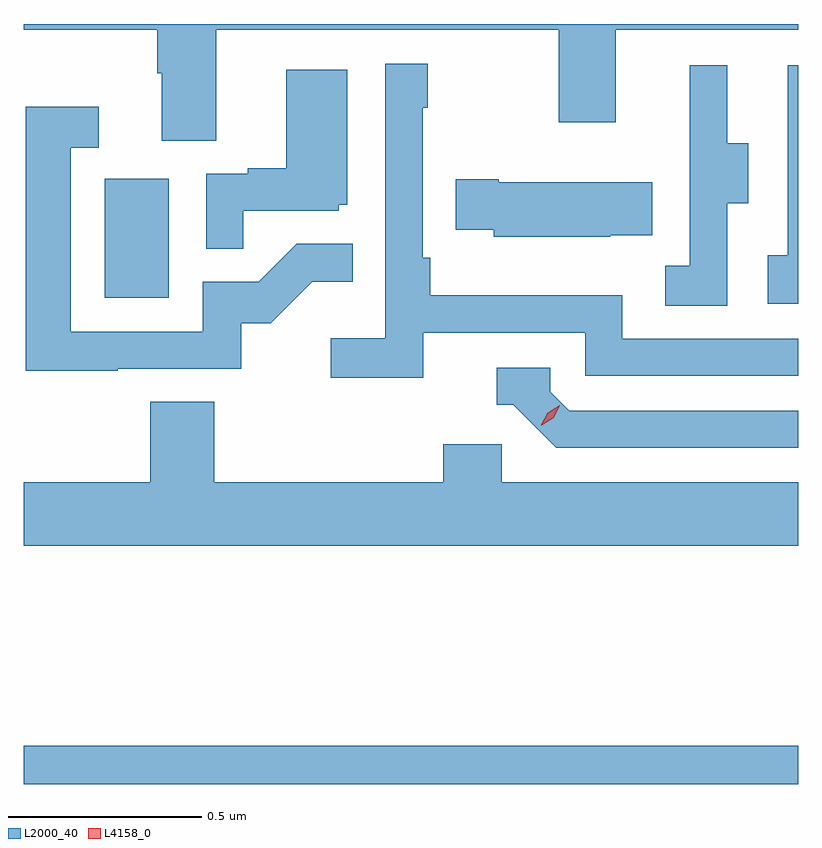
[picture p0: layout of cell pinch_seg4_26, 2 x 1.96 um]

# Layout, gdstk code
import gdstk
lib = gdstk.Library(unit=1e-6, precision=1e-09)
def R(c, l, rs):  # rectangles x0, y0, x1, y1
    for r in rs: c.add(gdstk.rectangle(r[:2], r[2:], *l))
def P(c, l, *ps):  # polygons
    for p in ps: c.add(gdstk.Polygon(p, *l))
L2000_40 = (2000, 40)
L4158_0 = (4158, 0)

pinch_seg4_26 = lib.new_cell('pinch_seg4_26')
R(pinch_seg4_26, L2000_40, [(1107.5,830.837,1109.5,830.936), (1107.71,832.092,1107.874,832.399)])
P(pinch_seg4_26, L2000_40, [(1107.997,832.784),(1108.882,832.784),(1108.882,832.545),(1109.029,832.545),(1109.029,832.784),(1109.5,832.784),(1109.5,832.799),(1107.5,832.799),(1107.5,832.784),(1107.845,832.784),(1107.845,832.672),(1107.857,832.672),(1107.857,832.498),(1107.997,832.498)],
  [(1108.532,832.002),(1108.95,832.002),(1108.95,831.891),(1109.5,831.891),(1109.5,831.987),(1109.046,831.987),(1109.046,832.099),(1108.55,832.099),(1108.55,832.195),(1108.53,832.195),(1108.53,832.583),(1108.543,832.583),(1108.543,832.696),(1108.434,832.696),(1108.434,831.988),(1108.293,831.988),(1108.293,831.886),(1108.532,831.886)],
  [(1109.316,832.336),(1109.371,832.336),(1109.371,832.491),(1109.317,832.491),(1109.317,832.693),(1109.219,832.693),(1109.219,832.479),(1109.22,832.479),(1109.22,832.175),(1109.157,832.175),(1109.157,832.072),(1109.316,832.072)],
  [(1109.5,832.693),(1109.472,832.693),(1109.472,832.202),(1109.421,832.202),(1109.421,832.077),(1109.5,832.077)],
  [(1108.067,832.317),(1108.314,832.317),(1108.314,832.332),(1108.336,832.332),(1108.336,832.681),(1108.178,832.681),(1108.178,832.426),(1108.079,832.426),(1108.079,832.413),(1107.972,832.413),(1107.972,832.219),(1108.067,832.219)],
  [(1107.743,831.909),(1108.062,831.909),(1108.062,832.026),(1108.138,832.026),(1108.245,832.133),(1108.349,832.133),(1108.349,832.232),(1108.205,832.232),(1108.107,832.134),(1107.963,832.134),(1107.963,832.005),(1107.621,832.005),(1107.621,832.479),(1107.694,832.479),(1107.694,832.585),(1107.505,832.585),(1107.505,831.904),(1107.743,831.904)],
  [(1109.015,832.253),(1109.123,832.253),(1109.123,832.39),(1108.726,832.39),(1108.726,832.398),(1108.615,832.398),(1108.615,832.268),(1108.713,832.268),(1108.713,832.25),(1109.015,832.25)],
  [(1109.5,831.801),(1108.908,831.801),(1108.86,831.849),(1108.86,831.912),(1108.721,831.912),(1108.721,831.816),(1108.764,831.816),(1108.875,831.705),(1109.5,831.705)],
  [(1109.5,831.616),(1108.734,831.616),(1108.734,831.714),(1108.583,831.714),(1108.583,831.616),(1107.992,831.616),(1107.992,831.824),(1107.827,831.824),(1107.827,831.616),(1107.5,831.616),(1107.5,831.452),(1109.5,831.452)])
P(pinch_seg4_26, L4158_0, [(1108.836,831.763),(1108.836,831.764),(1108.853,831.796),(1108.884,831.815),(1108.884,831.815),(1108.884,831.815),(1108.868,831.782),(1108.837,831.763)])

lib.write_gds('pinch_seg4_26.gds')
